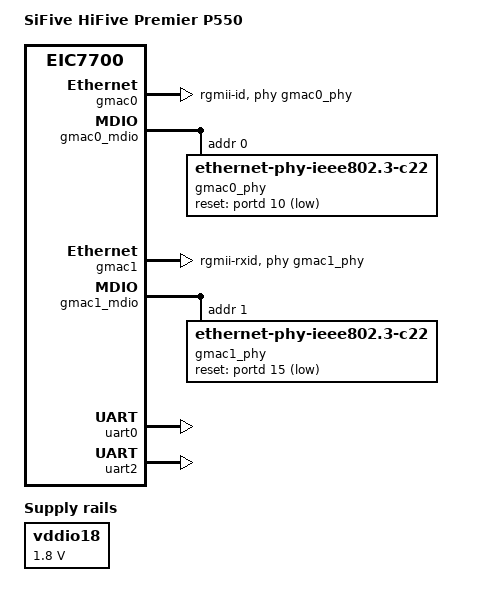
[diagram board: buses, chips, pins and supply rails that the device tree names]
// SPDX-License-Identifier: (GPL-2.0 OR MIT)

/dts-v1/;

#include <dt-bindings/gpio/gpio.h>

#include "eic7700.dtsi"

/ {
	compatible = "sifive,hifive-premier-p550", "eswin,eic7700";
	model = "SiFive HiFive Premier P550";

	aliases {
		ethernet0 = &gmac0;
		ethernet1 = &gmac1;
		serial0 = &uart0;
	};

	chosen {
		stdout-path = "serial0:115200n8";
	};

	vddio18: regulator-vddio18 {
		compatible = "regulator-fixed";
		regulator-name = "vddio18";
		regulator-min-microvolt = <1800000>;
		regulator-max-microvolt = <1800000>;
		regulator-always-on;
	};
};

&gmac0 {
	phy-handle = <&gmac0_phy>;
	phy-mode = "rgmii-id";
	rx-internal-delay-ps = <20>;
	tx-internal-delay-ps = <100>;
	status = "okay";
};

&gmac0_mdio {
	gmac0_phy: ethernet-phy@0 {
		compatible = "ethernet-phy-ieee802.3-c22";
		reg = <0x0>;
		reset-gpios = <&portd 10 GPIO_ACTIVE_LOW>;
	};
};

&gmac1 {
	phy-handle = <&gmac1_phy>;
	phy-mode = "rgmii-rxid";
	rx-internal-delay-ps = <200>;
	tx-internal-delay-ps = <200>;
	status = "okay";
};

&gmac1_mdio {
	gmac1_phy: ethernet-phy@1 {
		compatible = "ethernet-phy-ieee802.3-c22";
		reg = <0x1>;
		reset-gpios = <&portd 15 GPIO_ACTIVE_LOW>;
	};
};

&pinctrl {
	rgmii0-supply = <&vddio18>;
	rgmii1-supply = <&vddio18>;
};

&uart0 {
	status = "okay";
};

&uart2 {
	status = "okay";
};

&xtal24m {
	clock-frequency = <24000000>;
};
